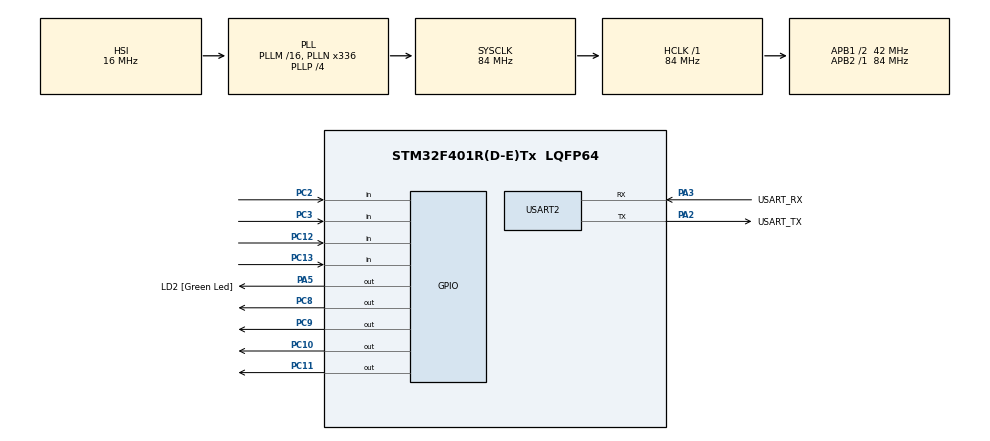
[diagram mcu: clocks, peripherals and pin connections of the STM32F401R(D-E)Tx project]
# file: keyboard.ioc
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Mcu.Family=STM32F4
Mcu.Name=STM32F401R(D-E)Tx
Mcu.Package=LQFP64
NVIC.PriorityGroup=NVIC_PRIORITYGROUP_0
PA13.GPIO_Label=TMS
PA13.Mode=Serial_Wire
PA13.Signal=SYS_JTMS-SWDIO
PA14.GPIO_Label=TCK
PA14.Mode=Serial_Wire
PA14.Signal=SYS_JTCK-SWCLK
PA2.GPIO_Label=USART_TX
PA2.GPIO_Mode=GPIO_MODE_AF_PP
PA2.GPIO_PuPd=GPIO_NOPULL
PA2.GPIO_Speed=GPIO_SPEED_FREQ_LOW
PA2.Mode=Asynchronous
PA2.Signal=USART2_TX
PA3.GPIO_Label=USART_RX
PA3.GPIO_Mode=GPIO_MODE_AF_PP
PA3.GPIO_PuPd=GPIO_NOPULL
PA3.GPIO_Speed=GPIO_SPEED_FREQ_LOW
PA3.Mode=Asynchronous
PA3.Signal=USART2_RX
PA5.GPIO_Label=LD2 [Green Led]
PA5.GPIO_Mode=GPIO_MODE_OUTPUT_PP
PA5.GPIO_PuPd=GPIO_NOPULL
PA5.GPIO_Speed=GPIO_SPEED_FREQ_LOW
PA5.Signal=GPIO_Output
PB3.GPIO_Label=SWO
PB3.Signal=SYS_JTDO-SWO
PC10.Signal=GPIO_Output
PC11.Signal=GPIO_Output
PC12.Signal=GPIO_Input
PC13-ANTI_TAMP.Signal=GPIO_Input
PC14-OSC32_IN.Mode=LSE-External-Oscillator
PC14-OSC32_IN.Signal=RCC_OSC32_IN
PC15-OSC32_OUT.Mode=LSE-External-Oscillator
PC15-OSC32_OUT.Signal=RCC_OSC32_OUT
PC2.Signal=GPIO_Input
PC3.Signal=GPIO_Input
PC8.Signal=GPIO_Output
PC9.Signal=GPIO_Output
PH0\ -\ OSC_IN.Mode=HSE-External-Clock-Source
PH0\ -\ OSC_IN.Signal=RCC_OSC_IN
PH1\ -\ OSC_OUT.Mode=HSE-External-Clock-Source
PH1\ -\ OSC_OUT.Signal=RCC_OSC_OUT
ProjectManager.HeapSize=0x200
ProjectManager.StackSize=0x400
ProjectManager.TargetToolchain=STM32CubeIDE
RCC.48MHZClocksFreq_Value=48000000
RCC.AHBFreq_Value=84000000
RCC.APB1CLKDivider=RCC_HCLK_DIV2
RCC.APB1Freq_Value=42000000
RCC.APB1TimFreq_Value=84000000
RCC.APB2Freq_Value=84000000
RCC.APB2TimFreq_Value=84000000
RCC.CortexFreq_Value=84000000
RCC.HCLKFreq_Value=84000000
RCC.HSE_VALUE=8000000
RCC.HSI_VALUE=16000000
RCC.PLLN=336
RCC.PLLP=RCC_PLLP_DIV4
RCC.PLLQ=7
RCC.SYSCLKFreq_VALUE=84000000
RCC.SYSCLKSource=RCC_SYSCLKSOURCE_PLLCLK
RCC.VCOOutputFreq_Value=336000000
USART2.VirtualMode=VM_ASYNC
board=NUCLEO-F401RE

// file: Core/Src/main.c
/* USER CODE BEGIN Header */
/**
 ******************************************************************************
 * @file           : main.c
 * @brief          : Main program body
 ******************************************************************************
 * @attention
 *
 * <h2><center>&copy; Copyright (c) 2021 STMicroelectronics.
 * All rights reserved.</center></h2>
 *
 * This software component is licensed by ST under BSD 3-Clause license,
 * the "License"; You may not use this file except in compliance with the
 * License. You may obtain a copy of the License at:
 *                        opensource.org/licenses/BSD-3-Clause
 *
 ******************************************************************************
 */
/* USER CODE END Header */
#include "main.h"

/* USER CODE BEGIN Includes */
#include <stdio.h>
/* USER CODE END Includes */

UART_HandleTypeDef huart2;

/* USER CODE BEGIN PV */
uint8_t pressed[4][4];
uint8_t keyboard[4][4] = { { '0', '1', '2', '3' }, { '4', '5', '6', '7' }, {
		'8', '9', 'A', 'B' }, { 'C', 'D', 'E', 'F' } };
/* USER CODE END PV */

void SystemClock_Config(void);
static void MX_GPIO_Init(void);
static void MX_USART2_UART_Init(void);
/* USER CODE BEGIN PFP */
int8_t readColumn(int nCol);
/* USER CODE END PFP */

int main(void) {
	/* USER CODE BEGIN 1 */
	for (int i = 0; i < 4; i++)
		memset(pressed[i], 0, 4);
	/* USER CODE END 1 */

	/* MCU Configuration--------------------------------------------------------*/

	/* Reset of all peripherals, Initializes the Flash interface and the Systick. */
	HAL_Init();

	/* Configure the system clock */
	SystemClock_Config();

	/* Initialize all configured peripherals */
	MX_GPIO_Init();
	MX_USART2_UART_Init();

	/* Infinite loop */
	/* USER CODE BEGIN WHILE */
	char str[32];
	while (1) {
		// reading for each column the row
		for (int iCol = 0; iCol < 4; iCol++) {
			uint8_t row = readColumn(iCol);

			// checking if the button at [iRow][iCol] is pressed
			for (int8_t iRow = 0; iRow < 4; iRow++) {
				if (!(row & (1 << iRow))) {
					/*sprintf(str, "entered %d, %d\r\n", iCol, iRow);
					 HAL_UART_Transmit(&huart2, str, strlen(str), 100);*/
					if (pressed[iRow][iCol] < 3) {
						pressed[iRow][iCol]++;
					} else if (pressed[iRow][iCol] == 3) {
						pressed[iRow][iCol]++;
						sprintf(str, "%c", keyboard[iRow][iCol], row);
						HAL_UART_Transmit(&huart2, str, strlen(str), 100);
					}
				} else {
					pressed[iRow][iCol] = 0;
				}
			}
		}

		/* USER CODE END WHILE */

	}
}

void SystemClock_Config(void) {
	RCC_OscInitTypeDef RCC_OscInitStruct = { 0 };
	RCC_ClkInitTypeDef RCC_ClkInitStruct = { 0 };

	/** Configure the main internal regulator output voltage
	 */
	__HAL_RCC_PWR_CLK_ENABLE();
	__HAL_PWR_VOLTAGESCALING_CONFIG(PWR_REGULATOR_VOLTAGE_SCALE2);
	/** Initializes the RCC Oscillators according to the specified parameters
	 * in the RCC_OscInitTypeDef structure.
	 */
	RCC_OscInitStruct.OscillatorType = RCC_OSCILLATORTYPE_HSI;
	RCC_OscInitStruct.HSIState = RCC_HSI_ON;
	RCC_OscInitStruct.HSICalibrationValue = RCC_HSICALIBRATION_DEFAULT;
	RCC_OscInitStruct.PLL.PLLState = RCC_PLL_ON;
	RCC_OscInitStruct.PLL.PLLSource = RCC_PLLSOURCE_HSI;
	RCC_OscInitStruct.PLL.PLLM = 16;
	RCC_OscInitStruct.PLL.PLLN = 336;
	RCC_OscInitStruct.PLL.PLLP = RCC_PLLP_DIV4;
	RCC_OscInitStruct.PLL.PLLQ = 7;
	if (HAL_RCC_OscConfig(&RCC_OscInitStruct) != HAL_OK) {
		Error_Handler();
	}
	/** Initializes the CPU, AHB and APB buses clocks
	 */
	RCC_ClkInitStruct.ClockType = RCC_CLOCKTYPE_HCLK | RCC_CLOCKTYPE_SYSCLK
			| RCC_CLOCKTYPE_PCLK1 | RCC_CLOCKTYPE_PCLK2;
	RCC_ClkInitStruct.SYSCLKSource = RCC_SYSCLKSOURCE_PLLCLK;
	RCC_ClkInitStruct.AHBCLKDivider = RCC_SYSCLK_DIV1;
	RCC_ClkInitStruct.APB1CLKDivider = RCC_HCLK_DIV2;
	RCC_ClkInitStruct.APB2CLKDivider = RCC_HCLK_DIV1;

	if (HAL_RCC_ClockConfig(&RCC_ClkInitStruct, FLASH_LATENCY_2) != HAL_OK) {
		Error_Handler();
	}
}

static void MX_USART2_UART_Init(void) {

	huart2.Instance = USART2;
	huart2.Init.BaudRate = 115200;
	huart2.Init.WordLength = UART_WORDLENGTH_8B;
	huart2.Init.StopBits = UART_STOPBITS_1;
	huart2.Init.Parity = UART_PARITY_NONE;
	huart2.Init.Mode = UART_MODE_TX_RX;
	huart2.Init.HwFlowCtl = UART_HWCONTROL_NONE;
	huart2.Init.OverSampling = UART_OVERSAMPLING_16;
	if (HAL_UART_Init(&huart2) != HAL_OK) {
		Error_Handler();
	}

}

static void MX_GPIO_Init(void) {
	GPIO_InitTypeDef GPIO_InitStruct = { 0 };

	/* GPIO Ports Clock Enable */
	__HAL_RCC_GPIOC_CLK_ENABLE();
	__HAL_RCC_GPIOH_CLK_ENABLE();
	__HAL_RCC_GPIOA_CLK_ENABLE();
	__HAL_RCC_GPIOB_CLK_ENABLE();

	/*Configure GPIO pin Output Level */
	HAL_GPIO_WritePin(LD2_GPIO_Port, LD2_Pin, GPIO_PIN_RESET);

	/*Configure GPIO pin Output Level */
	HAL_GPIO_WritePin(GPIOC,
	GPIO_PIN_8 | GPIO_PIN_9 | GPIO_PIN_10 | GPIO_PIN_11, GPIO_PIN_RESET);

	/*Configure GPIO pins : PC13 PC2 PC3 PC12 */
	GPIO_InitStruct.Pin = GPIO_PIN_13 | GPIO_PIN_2 | GPIO_PIN_3 | GPIO_PIN_12;
	GPIO_InitStruct.Mode = GPIO_MODE_INPUT;
	GPIO_InitStruct.Pull = GPIO_NOPULL;
	HAL_GPIO_Init(GPIOC, &GPIO_InitStruct);

	/*Configure GPIO pin : LD2_Pin */
	GPIO_InitStruct.Pin = LD2_Pin;
	GPIO_InitStruct.Mode = GPIO_MODE_OUTPUT_PP;
	GPIO_InitStruct.Pull = GPIO_NOPULL;
	GPIO_InitStruct.Speed = GPIO_SPEED_FREQ_LOW;
	HAL_GPIO_Init(LD2_GPIO_Port, &GPIO_InitStruct);

	/*Configure GPIO pins : PC8 PC9 PC10 PC11 */
	GPIO_InitStruct.Pin = GPIO_PIN_8 | GPIO_PIN_9 | GPIO_PIN_10 | GPIO_PIN_11;
	GPIO_InitStruct.Mode = GPIO_MODE_OUTPUT_PP;
	GPIO_InitStruct.Pull = GPIO_NOPULL;
	GPIO_InitStruct.Speed = GPIO_SPEED_FREQ_LOW;
	HAL_GPIO_Init(GPIOC, &GPIO_InitStruct);

}

/* USER CODE BEGIN 4 */
int8_t readColumn(int nCol) {
	// setting up the col bits

	HAL_GPIO_WritePin(GPIOC, GPIO_PIN_8,
			(nCol == 0 ? GPIO_PIN_SET : GPIO_PIN_RESET));
	HAL_GPIO_WritePin(GPIOC, GPIO_PIN_9,
			(nCol == 1 ? GPIO_PIN_SET : GPIO_PIN_RESET));
	HAL_GPIO_WritePin(GPIOC, GPIO_PIN_10,
			(nCol == 2 ? GPIO_PIN_SET : GPIO_PIN_RESET));
	HAL_GPIO_WritePin(GPIOC, GPIO_PIN_11,
			(nCol == 3 ? GPIO_PIN_SET : GPIO_PIN_RESET));

	HAL_Delay(1);

	return (HAL_GPIO_ReadPin(GPIOC, GPIO_PIN_12) << 0)
			+ (HAL_GPIO_ReadPin(GPIOC, GPIO_PIN_13) << 1)
			+ (HAL_GPIO_ReadPin(GPIOC, GPIO_PIN_2) << 2)
			+ (HAL_GPIO_ReadPin(GPIOC, GPIO_PIN_3) << 3);
}
/* USER CODE END 4 */

void Error_Handler(void) {
	__disable_irq();
	while (1) {
	}
}

/************************ (C) COPYRIGHT STMicroelectronics *****END OF FILE****/
